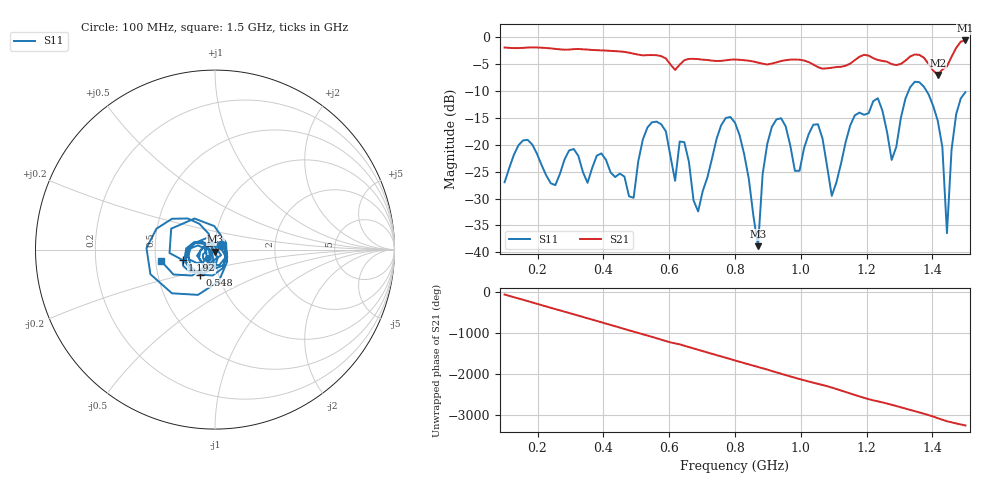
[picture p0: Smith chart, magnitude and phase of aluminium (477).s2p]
! NanoVNA-App
! Date: 2025-09-25 14:59:00
! Start: 100MHz Stop: 1,5GHz Points: 101
! S-Parameter data: F S11 S21 S12 S22
# Hz S RI R 50
!  Frequency  S11_Real  S11_Imag  S21_Real  S21_Imag  S12_Real  S12_Imag  S22_Real  S22_Imag
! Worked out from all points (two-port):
!   101 points, 100 MHz to 1.5 GHz, reference 50 ohm
!   highest |S21| = -0.61 dB at 1.5 GHz (marker M1); lowest = -7.0 dB at 1.416 GHz (marker M2)
!   |S21| within 3 dB of the highest: start of sweep to 578.6 MHz; 1.332 GHz to 1.369 GHz (36.71 MHz wide, 2.72 % of centre) (the widest 2 of 4)
!   lowest |S11| = -38.8 dB at 870 MHz (marker M3), VSWR 1.02, Z = 50.2 - j1.13 ohm
!   |S11| at or under -10 dB: start of sweep to 1.327 GHz; 1.382 GHz to end of sweep
!   S12 and S22 are empty: the file has one direction only
!   S11 on the Smith chart (normalised r, x): 100 MHz: 1.07, +0.06; 548 MHz: 0.82, -0.23; 1.192 GHz: 0.69, -0.08; 1.5 GHz: 0.53, -0.07
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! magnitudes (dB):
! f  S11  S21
! 100 MHz  -27.0  -1.9
! 156 MHz  -19.2  -2.0
! 338 MHz  -25.1  -2.3
! 492 MHz  -29.9  -3.1
! 548 MHz  -15.8  -3.3
! 576 MHz  -16.2  -3.5
! 646 MHz  -19.5  -4.3
! 688 MHz  -32.4  -4.1
! 800 MHz  -15.9  -4.1
! 870 MHz  -38.8  -4.7
! 912 MHz  -16.7  -4.9
! 996 MHz  -24.8  -4.2
! 1.038 GHz  -16.3  -5.1
! 1.094 GHz  -29.5  -5.7
! 1.192 GHz  -14.4  -3.3
! 1.234 GHz  -11.4  -4.2
! 1.276 GHz  -22.8  -5.0
! 1.346 GHz  -8.3  -3.2
! 1.416 GHz  -15.5  -7.0
! 1.444 GHz  -36.4  -5.5
! 1.472 GHz  -14.3  -2.0
! 1.5 GHz  -10.2  -0.6
